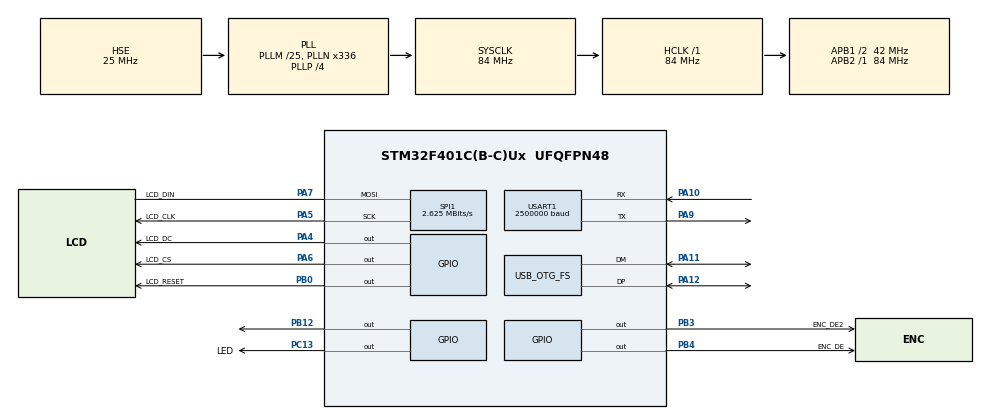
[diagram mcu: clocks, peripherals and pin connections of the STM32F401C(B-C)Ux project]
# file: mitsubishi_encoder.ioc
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Dma.Request0=USART1_RX
Dma.Request1=USART1_TX
Dma.Request2=SPI1_TX
Dma.SPI1_TX.2.Direction=DMA_MEMORY_TO_PERIPH
Dma.SPI1_TX.2.FIFOMode=DMA_FIFOMODE_DISABLE
Dma.SPI1_TX.2.Instance=DMA2_Stream3
Dma.SPI1_TX.2.MemDataAlignment=DMA_MDATAALIGN_BYTE
Dma.SPI1_TX.2.MemInc=DMA_MINC_ENABLE
Dma.SPI1_TX.2.Mode=DMA_NORMAL
Dma.SPI1_TX.2.PeriphDataAlignment=DMA_PDATAALIGN_BYTE
Dma.SPI1_TX.2.PeriphInc=DMA_PINC_DISABLE
Dma.SPI1_TX.2.Priority=DMA_PRIORITY_LOW
Dma.USART1_RX.0.Direction=DMA_PERIPH_TO_MEMORY
Dma.USART1_RX.0.FIFOMode=DMA_FIFOMODE_DISABLE
Dma.USART1_RX.0.Instance=DMA2_Stream2
Dma.USART1_RX.0.MemDataAlignment=DMA_MDATAALIGN_BYTE
Dma.USART1_RX.0.MemInc=DMA_MINC_ENABLE
Dma.USART1_RX.0.Mode=DMA_NORMAL
Dma.USART1_RX.0.PeriphDataAlignment=DMA_PDATAALIGN_BYTE
Dma.USART1_RX.0.PeriphInc=DMA_PINC_DISABLE
Dma.USART1_RX.0.Priority=DMA_PRIORITY_LOW
Dma.USART1_TX.1.Direction=DMA_MEMORY_TO_PERIPH
Dma.USART1_TX.1.FIFOMode=DMA_FIFOMODE_DISABLE
Dma.USART1_TX.1.Instance=DMA2_Stream7
Dma.USART1_TX.1.MemDataAlignment=DMA_MDATAALIGN_BYTE
Dma.USART1_TX.1.MemInc=DMA_MINC_ENABLE
Dma.USART1_TX.1.Mode=DMA_NORMAL
Dma.USART1_TX.1.PeriphDataAlignment=DMA_PDATAALIGN_BYTE
Dma.USART1_TX.1.PeriphInc=DMA_PINC_DISABLE
Dma.USART1_TX.1.Priority=DMA_PRIORITY_LOW
Mcu.Family=STM32F4
Mcu.Name=STM32F401C(B-C)Ux
Mcu.Package=UFQFPN48
NVIC.DMA2_Stream2_IRQn=true\:0\:0\:false\:false\:true\:false\:true
NVIC.DMA2_Stream3_IRQn=true\:0\:0\:false\:false\:true\:false\:true
NVIC.DMA2_Stream7_IRQn=true\:0\:0\:false\:false\:true\:false\:true
NVIC.PriorityGroup=NVIC_PRIORITYGROUP_4
NVIC.TIM4_IRQn=true\:0\:0\:false\:false\:true\:true\:true
NVIC.USART1_IRQn=true\:0\:0\:false\:false\:true\:true\:true
PA10.Mode=Asynchronous
PA10.Signal=USART1_RX
PA11.Mode=Device_Only
PA11.Signal=USB_OTG_FS_DM
PA12.Mode=Device_Only
PA12.Signal=USB_OTG_FS_DP
PA13.Mode=Serial_Wire
PA13.Signal=SYS_JTMS-SWDIO
PA14.Mode=Serial_Wire
PA14.Signal=SYS_JTCK-SWCLK
PA4.GPIO_Label=LCD_DC
PA4.Signal=GPIO_Output
PA5.GPIO_Label=LCD_CLK
PA5.Mode=Simplex_Bidirectional_Master
PA5.Signal=SPI1_SCK
PA6.GPIO_Label=LCD_CS
PA6.Signal=GPIO_Output
PA7.GPIO_Label=LCD_DIN
PA7.Mode=Simplex_Bidirectional_Master
PA7.Signal=SPI1_MOSI
PA9.Mode=Asynchronous
PA9.Signal=USART1_TX
PB0.GPIO_Label=LCD_RESET
PB0.Signal=GPIO_Output
PB12.Signal=GPIO_Output
PB3.GPIO_Label=ENC_DE2
PB3.PinState=GPIO_PIN_SET
PB3.Signal=GPIO_Output
PB4.GPIO_Label=ENC_DE
PB4.PinState=GPIO_PIN_SET
PB4.Signal=GPIO_Output
PC13-ANTI_TAMP.GPIO_Label=LED
PC13-ANTI_TAMP.Signal=GPIO_Output
PH0\ -\ OSC_IN.Mode=HSE-External-Oscillator
PH0\ -\ OSC_IN.Signal=RCC_OSC_IN
PH1\ -\ OSC_OUT.Mode=HSE-External-Oscillator
PH1\ -\ OSC_OUT.Signal=RCC_OSC_OUT
ProjectManager.HeapSize=0x200
ProjectManager.StackSize=0x400
ProjectManager.TargetToolchain=STM32CubeIDE
RCC.48MHZClocksFreq_Value=48000000
RCC.AHBFreq_Value=84000000
RCC.APB1CLKDivider=RCC_HCLK_DIV2
RCC.APB1Freq_Value=42000000
RCC.APB1TimFreq_Value=84000000
RCC.APB2Freq_Value=84000000
RCC.APB2TimFreq_Value=84000000
RCC.CortexFreq_Value=84000000
RCC.HCLKFreq_Value=84000000
RCC.HSE_VALUE=25000000
RCC.HSI_VALUE=16000000
RCC.LSE_VALUE=32768
RCC.PLLM=25
RCC.PLLN=336
RCC.PLLP=RCC_PLLP_DIV4
RCC.PLLQ=7
RCC.SYSCLKFreq_VALUE=84000000
RCC.SYSCLKSource=RCC_SYSCLKSOURCE_PLLCLK
RCC.VCOOutputFreq_Value=336000000
SPI1.BaudRatePrescaler=SPI_BAUDRATEPRESCALER_32
SPI1.CalculateBaudRate=2.625 MBits/s
SPI1.Direction=SPI_DIRECTION_1LINE
SPI1.Mode=SPI_MODE_MASTER
SPI1.VirtualType=VM_MASTER
TIM4.AutoReloadPreload=TIM_AUTORELOAD_PRELOAD_ENABLE
TIM4.Period=4665
TIM4.Prescaler=0
USART1.BaudRate=2500000
USART1.VirtualMode=VM_ASYNC
USB_OTG_FS.VirtualMode=Device_Only
VP_TIM4_VS_ClockSourceINT.Mode=Internal
board=custom

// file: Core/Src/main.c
/* USER CODE BEGIN Header */
/*
 * Program po inicjalizacji wyswietlacza i pokazaniu ekranu powitalnego wyswietla dane silnika.
 * Po wyslaniu polecenia 0x7A cala odpowiedz enkodera jest wyswietlana jako HEX na ekranie.
 * Pierwszy bajt to powtórzenie polecenia, drugi to prawdopodobnie status, kolejne 3 bajty to dane silnika,
 * zmieniaja sie dla 3 roznych silnikow na ktorych testowalem (kf23,kfs23,mfs13).
 * Znaczenie pozostalych nie jest mi znane ale sa dla tych 3 silnikow rowne FF 00 A7
 * Ostatni to suma kontrolna XOR
 *
 * Jezeli moj sposob dekodowania modelu silnika dziala to pokaze sie tez model silnika, moc i predkosc obrotowa
 * kfs23  A7 21 41 12 23 FF 00 A7
 * mfs13  A7 21 41 02 13 FF 00 A7
 * kf23   A7 21 3D 12 23 FF 00 A7
 *              |  |  |_________MOC i predkosc(13/23)???
 *              |  |____________typ(mf/kf)???
 *              |_______________Rodzina(j2/j2s)???
 *
 * Odczyt pozycji odbywa sie po wysłaniu bajtu 0xA2 dla serw j2s (17 bit enkoder) i 0x1A dla serw j2 (13-bit enkoder)
 * 0x1A też zwraca wartosc dla serw j2s ale wartosc pozycji jest ograniczona do 16 bit
 *
 * Przerwanie timera TIM4 (18khz) inicjuje komunikacje z enkoderem, oblicza pozycje z otrzymanych poprzednio danych, oblicza predkosc
 * oraz wykrywa błedy zwiazane z bledem sumy kontrolnej lub nadmiernym przyspieszeniem (uszkodzona tarczka
 *  enkodera przeklamuje pozycje i serwo szaleje).
 *
 *  Przy zbyt wielu bledach sumy kontrolnej ustawiany jest blad braku komunikacji.
 *
 *  Petla main() bierze dane obliczone w przerwaniu timera TIM4 i wyswietla na ekranie.
*/
/* USER CODE END Header */
#include "main.h"

/* USER CODE BEGIN Includes */
#include "gfx_pcd8544.h"
#include "mitsubishi_encoder.h"
#include <stdio.h>
/* USER CODE END Includes */

SPI_HandleTypeDef hspi1;
DMA_HandleTypeDef hdma_spi1_tx;

TIM_HandleTypeDef htim4;

UART_HandleTypeDef huart1;
DMA_HandleTypeDef hdma_usart1_rx;
DMA_HandleTypeDef hdma_usart1_tx;

PCD_HandleTypeDef hpcd_USB_OTG_FS;

/* USER CODE BEGIN PV */
enum encoder_state_t encoder_state = encoder_error_no_communication;

/* USER CODE END PV */

void SystemClock_Config(void);
static void MX_GPIO_Init(void);
static void MX_DMA_Init(void);
static void MX_SPI1_Init(void);
static void MX_USART1_UART_Init(void);
static void MX_TIM4_Init(void);
static void MX_USB_OTG_FS_PCD_Init(void);
/* USER CODE BEGIN PFP */
void draw_main_screen(void);
/* USER CODE END PFP */

int main(void)
{

  /* MCU Configuration--------------------------------------------------------*/

  /* Reset of all peripherals, Initializes the Flash interface and the Systick. */
  HAL_Init();

  /* Configure the system clock */
  SystemClock_Config();

  /* Initialize all configured peripherals */
  MX_GPIO_Init();
  MX_DMA_Init();
  MX_SPI1_Init();
  MX_USART1_UART_Init();
  MX_TIM4_Init();
  MX_USB_OTG_FS_PCD_Init();
  /* USER CODE BEGIN 2 */
  //draw welcome screen
  PCD8544_Init(0x38);
  PCD8544_GotoXY(0, 0);
  PCD8544_Puts("   Mitsubishi", PCD8544_Pixel_Set, PCD8544_FontSize_5x7);
  PCD8544_GotoXY(0, 9);
  PCD8544_Puts("enkoder tester", PCD8544_Pixel_Set, PCD8544_FontSize_5x7);
  PCD8544_GotoXY(0, 29);
  PCD8544_Puts("    WICIU15", PCD8544_Pixel_Set, PCD8544_FontSize_5x7);
  PCD8544_GotoXY(29, 37);
    PCD8544_Puts("2022", PCD8544_Pixel_Set, PCD8544_FontSize_5x7);
  PCD8544_Refresh();

  motor_identification();
  HAL_Delay(1600);
  //draw motor model and data
  PCD8544_Clear();
  char string [32]={0x00};
  PCD8544_GotoXY(14, 0);
  PCD8544_Puts(motor_model_string, PCD8544_Pixel_Set, PCD8544_FontSize_5x7);
  PCD8544_GotoXY(4, 10);
  sprintf(string,"%dW %drpm",motor_power,motor_speed);
  PCD8544_Puts(string, PCD8544_Pixel_Set, PCD8544_FontSize_5x7);
  PCD8544_GotoXY(0, 28);
  //draw motor data read from encoder (command 0x7A)
  sprintf(string,"HEX:%X %X %X %X %X %X %X %X %X",
		  motor_data_response_packet[0],
		  motor_data_response_packet[1],
		  motor_data_response_packet[2],
		  motor_data_response_packet[3],
		  motor_data_response_packet[4],
		  motor_data_response_packet[5],
		  motor_data_response_packet[6],
		  motor_data_response_packet[7],
		  motor_data_response_packet[8]);
  PCD8544_Puts(string, PCD8544_Pixel_Set, PCD8544_FontSize_5x7);
  PCD8544_Refresh();

  HAL_Delay(5000);
  HAL_TIM_Base_Start_IT(&htim4); //start main 18khz loop for reading and calculating position from encoder
  /* USER CODE END 2 */

  /* Infinite loop */
  /* USER CODE BEGIN WHILE */
	while (1) {
		HAL_GPIO_WritePin(LED_GPIO_Port, LED_Pin,GPIO_PIN_RESET);
		draw_main_screen();
		HAL_GPIO_WritePin(LED_GPIO_Port, LED_Pin,GPIO_PIN_SET);
		HAL_Delay(50);

    /* USER CODE END WHILE */

	}
}

void SystemClock_Config(void)
{
  RCC_OscInitTypeDef RCC_OscInitStruct = {0};
  RCC_ClkInitTypeDef RCC_ClkInitStruct = {0};

  /** Configure the main internal regulator output voltage
  */
  __HAL_RCC_PWR_CLK_ENABLE();
  __HAL_PWR_VOLTAGESCALING_CONFIG(PWR_REGULATOR_VOLTAGE_SCALE2);
  /** Initializes the RCC Oscillators according to the specified parameters
  * in the RCC_OscInitTypeDef structure.
  */
  RCC_OscInitStruct.OscillatorType = RCC_OSCILLATORTYPE_HSE;
  RCC_OscInitStruct.HSEState = RCC_HSE_ON;
  RCC_OscInitStruct.PLL.PLLState = RCC_PLL_ON;
  RCC_OscInitStruct.PLL.PLLSource = RCC_PLLSOURCE_HSE;
  RCC_OscInitStruct.PLL.PLLM = 25;
  RCC_OscInitStruct.PLL.PLLN = 336;
  RCC_OscInitStruct.PLL.PLLP = RCC_PLLP_DIV4;
  RCC_OscInitStruct.PLL.PLLQ = 7;
  if (HAL_RCC_OscConfig(&RCC_OscInitStruct) != HAL_OK)
  {
    Error_Handler();
  }
  /** Initializes the CPU, AHB and APB buses clocks
  */
  RCC_ClkInitStruct.ClockType = RCC_CLOCKTYPE_HCLK|RCC_CLOCKTYPE_SYSCLK
                              |RCC_CLOCKTYPE_PCLK1|RCC_CLOCKTYPE_PCLK2;
  RCC_ClkInitStruct.SYSCLKSource = RCC_SYSCLKSOURCE_PLLCLK;
  RCC_ClkInitStruct.AHBCLKDivider = RCC_SYSCLK_DIV1;
  RCC_ClkInitStruct.APB1CLKDivider = RCC_HCLK_DIV2;
  RCC_ClkInitStruct.APB2CLKDivider = RCC_HCLK_DIV1;

  if (HAL_RCC_ClockConfig(&RCC_ClkInitStruct, FLASH_LATENCY_2) != HAL_OK)
  {
    Error_Handler();
  }
}

static void MX_SPI1_Init(void)
{

  /* SPI1 parameter configuration*/
  hspi1.Instance = SPI1;
  hspi1.Init.Mode = SPI_MODE_MASTER;
  hspi1.Init.Direction = SPI_DIRECTION_1LINE;
  hspi1.Init.DataSize = SPI_DATASIZE_8BIT;
  hspi1.Init.CLKPolarity = SPI_POLARITY_LOW;
  hspi1.Init.CLKPhase = SPI_PHASE_1EDGE;
  hspi1.Init.NSS = SPI_NSS_SOFT;
  hspi1.Init.BaudRatePrescaler = SPI_BAUDRATEPRESCALER_32;
  hspi1.Init.FirstBit = SPI_FIRSTBIT_MSB;
  hspi1.Init.TIMode = SPI_TIMODE_DISABLE;
  hspi1.Init.CRCCalculation = SPI_CRCCALCULATION_DISABLE;
  hspi1.Init.CRCPolynomial = 10;
  if (HAL_SPI_Init(&hspi1) != HAL_OK)
  {
    Error_Handler();
  }

}

static void MX_TIM4_Init(void)
{

  TIM_ClockConfigTypeDef sClockSourceConfig = {0};
  TIM_MasterConfigTypeDef sMasterConfig = {0};

  htim4.Instance = TIM4;
  htim4.Init.Prescaler = 0;
  htim4.Init.CounterMode = TIM_COUNTERMODE_UP;
  htim4.Init.Period = 4665;
  htim4.Init.ClockDivision = TIM_CLOCKDIVISION_DIV1;
  htim4.Init.AutoReloadPreload = TIM_AUTORELOAD_PRELOAD_ENABLE;
  if (HAL_TIM_Base_Init(&htim4) != HAL_OK)
  {
    Error_Handler();
  }
  sClockSourceConfig.ClockSource = TIM_CLOCKSOURCE_INTERNAL;
  if (HAL_TIM_ConfigClockSource(&htim4, &sClockSourceConfig) != HAL_OK)
  {
    Error_Handler();
  }
  sMasterConfig.MasterOutputTrigger = TIM_TRGO_RESET;
  sMasterConfig.MasterSlaveMode = TIM_MASTERSLAVEMODE_DISABLE;
  if (HAL_TIMEx_MasterConfigSynchronization(&htim4, &sMasterConfig) != HAL_OK)
  {
    Error_Handler();
  }

}

static void MX_USART1_UART_Init(void)
{

  huart1.Instance = USART1;
  huart1.Init.BaudRate = 2500000;
  huart1.Init.WordLength = UART_WORDLENGTH_8B;
  huart1.Init.StopBits = UART_STOPBITS_1;
  huart1.Init.Parity = UART_PARITY_NONE;
  huart1.Init.Mode = UART_MODE_TX_RX;
  huart1.Init.HwFlowCtl = UART_HWCONTROL_NONE;
  huart1.Init.OverSampling = UART_OVERSAMPLING_16;
  if (HAL_UART_Init(&huart1) != HAL_OK)
  {
    Error_Handler();
  }

}

static void MX_USB_OTG_FS_PCD_Init(void)
{

  hpcd_USB_OTG_FS.Instance = USB_OTG_FS;
  hpcd_USB_OTG_FS.Init.dev_endpoints = 4;
  hpcd_USB_OTG_FS.Init.speed = PCD_SPEED_FULL;
  hpcd_USB_OTG_FS.Init.dma_enable = DISABLE;
  hpcd_USB_OTG_FS.Init.phy_itface = PCD_PHY_EMBEDDED;
  hpcd_USB_OTG_FS.Init.Sof_enable = DISABLE;
  hpcd_USB_OTG_FS.Init.low_power_enable = DISABLE;
  hpcd_USB_OTG_FS.Init.lpm_enable = DISABLE;
  hpcd_USB_OTG_FS.Init.vbus_sensing_enable = DISABLE;
  hpcd_USB_OTG_FS.Init.use_dedicated_ep1 = DISABLE;
  if (HAL_PCD_Init(&hpcd_USB_OTG_FS) != HAL_OK)
  {
    Error_Handler();
  }

}

static void MX_DMA_Init(void)
{

  /* DMA controller clock enable */
  __HAL_RCC_DMA2_CLK_ENABLE();

  /* DMA interrupt init */
  /* DMA2_Stream2_IRQn interrupt configuration */
  HAL_NVIC_SetPriority(DMA2_Stream2_IRQn, 0, 0);
  HAL_NVIC_EnableIRQ(DMA2_Stream2_IRQn);
  /* DMA2_Stream3_IRQn interrupt configuration */
  HAL_NVIC_SetPriority(DMA2_Stream3_IRQn, 0, 0);
  HAL_NVIC_EnableIRQ(DMA2_Stream3_IRQn);
  /* DMA2_Stream7_IRQn interrupt configuration */
  HAL_NVIC_SetPriority(DMA2_Stream7_IRQn, 0, 0);
  HAL_NVIC_EnableIRQ(DMA2_Stream7_IRQn);

}

static void MX_GPIO_Init(void)
{
  GPIO_InitTypeDef GPIO_InitStruct = {0};

  /* GPIO Ports Clock Enable */
  __HAL_RCC_GPIOC_CLK_ENABLE();
  __HAL_RCC_GPIOH_CLK_ENABLE();
  __HAL_RCC_GPIOA_CLK_ENABLE();
  __HAL_RCC_GPIOB_CLK_ENABLE();

  /*Configure GPIO pin Output Level */
  HAL_GPIO_WritePin(LED_GPIO_Port, LED_Pin, GPIO_PIN_RESET);

  /*Configure GPIO pin Output Level */
  HAL_GPIO_WritePin(GPIOA, LCD_DC_Pin|LCD_CS_Pin, GPIO_PIN_RESET);

  /*Configure GPIO pin Output Level */
  HAL_GPIO_WritePin(GPIOB, LCD_RESET_Pin|GPIO_PIN_12, GPIO_PIN_RESET);

  /*Configure GPIO pin Output Level */
  HAL_GPIO_WritePin(GPIOB, ENC_DE2_Pin|ENC_DE_Pin, GPIO_PIN_SET);

  /*Configure GPIO pin : LED_Pin */
  GPIO_InitStruct.Pin = LED_Pin;
  GPIO_InitStruct.Mode = GPIO_MODE_OUTPUT_PP;
  GPIO_InitStruct.Pull = GPIO_NOPULL;
  GPIO_InitStruct.Speed = GPIO_SPEED_FREQ_LOW;
  HAL_GPIO_Init(LED_GPIO_Port, &GPIO_InitStruct);

  /*Configure GPIO pins : LCD_DC_Pin LCD_CS_Pin */
  GPIO_InitStruct.Pin = LCD_DC_Pin|LCD_CS_Pin;
  GPIO_InitStruct.Mode = GPIO_MODE_OUTPUT_PP;
  GPIO_InitStruct.Pull = GPIO_NOPULL;
  GPIO_InitStruct.Speed = GPIO_SPEED_FREQ_LOW;
  HAL_GPIO_Init(GPIOA, &GPIO_InitStruct);

  /*Configure GPIO pins : LCD_RESET_Pin PB12 ENC_DE2_Pin ENC_DE_Pin */
  GPIO_InitStruct.Pin = LCD_RESET_Pin|GPIO_PIN_12|ENC_DE2_Pin|ENC_DE_Pin;
  GPIO_InitStruct.Mode = GPIO_MODE_OUTPUT_PP;
  GPIO_InitStruct.Pull = GPIO_NOPULL;
  GPIO_InitStruct.Speed = GPIO_SPEED_FREQ_LOW;
  HAL_GPIO_Init(GPIOB, &GPIO_InitStruct);

}

/* USER CODE BEGIN 4 */
void draw_main_screen(void) {
	PCD8544_Clear();
	//static part of UI
	PCD8544_GotoXY(3, 0);
	PCD8544_Puts("Pozycja:", PCD8544_Pixel_Set, PCD8544_FontSize_5x7);
	PCD8544_GotoXY(3, 29);
	PCD8544_Puts("Status:", PCD8544_Pixel_Set, PCD8544_FontSize_5x7);
	//draw line for bar graph
	for (uint8_t i = 0; i < 80; i++) {
		PCD8544_DrawPixel(i + 1, 23, 1);
	}
	//dynamic data drawing
	//position drawing
	char string_position[7] = "6666666";
	sprintf(string_position, "%ld", encoder_position);
	PCD8544_GotoXY(0, 9);
	PCD8544_Puts(string_position, PCD8544_Pixel_Set, PCD8544_FontSize_5x7);
	//bar graph
	PCD8544_DrawPixel((unsigned char)low_res_position, 21, PCD8544_Pixel_Set);
	PCD8544_DrawPixel((unsigned char)low_res_position, 20, PCD8544_Pixel_Set);
	//encoder status drawing
	char string_status[13] = "Nieznany";
	switch (encoder_state) {
	case encoder_ok:
		sprintf(string_status, "OK");
		break;
	case encoder_error_acceleration:
		sprintf(string_status, "ERR-ACCEL");
		break;
	case encoder_error_cheksum:
		sprintf(string_status, "ERR-CHECKSUM");
		break;
	case encoder_error_no_communication:
		sprintf(string_status, "ERR-NO-COMM");
		break;
	}
	PCD8544_GotoXY(0, 37);
	PCD8544_Puts(string_status, PCD8544_Pixel_Set, PCD8544_FontSize_5x7);
	PCD8544_Refresh();
}
/* USER CODE END 4 */

void Error_Handler(void)
{
	__disable_irq();
	while (1) {
	}
}
